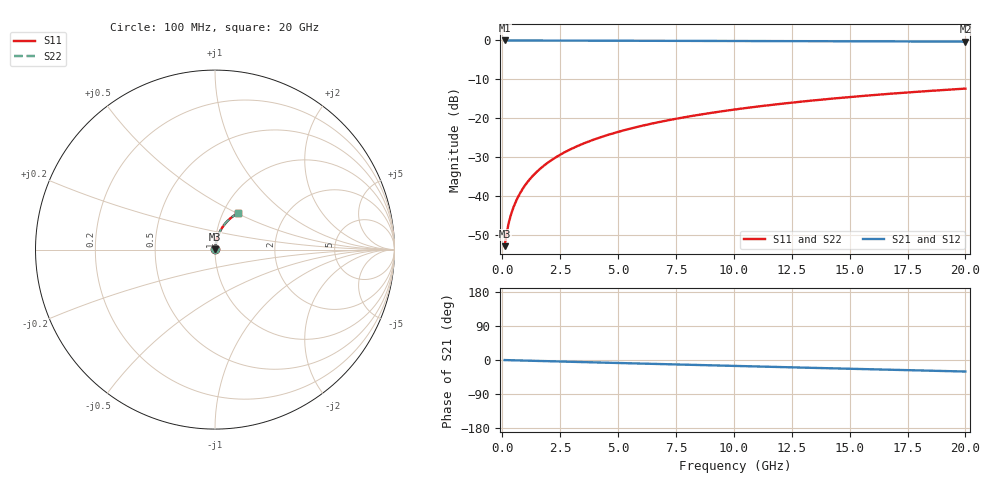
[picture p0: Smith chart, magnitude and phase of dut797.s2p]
! Touchstone file exported from HFSS 2026.1.0
!  File:  C:/ffzhzh/LocalFiles/Ansys_Project_Files/temp_train_BSMRDL_797_1783169641_55132.aedt
!  Generated:  08:55:15 PM Jul  4, 2026
!  Design:  BSMRDL
!  Project:  temp_train_BSMRDL_797_1783169641_55132
! Variables:
!  h_bsmrdl = 3.86um
!  h_ox = 20um
!  h_rdl = 5um
!  h_sub = 80um
!  h_tmrdl = 5um
!  h_tsv = 80um
!  h_via = 3um
!  l_bsmrdl = 448.26um
!  l_sub = 848.26um
!  l_tmrdl = 200um
!  m_sub = 200um
!  pitch = 51.76um
!  r_tsv = 6um
!  s_tmrdl = 10um
!  w_bsmrdl = 29.89um
!  w_sub = 500um
!  w_tmrdl = 12um
!  x_tsv_center1 = 206um
!  x_tsv_center2 = 684.15um
!  x_tsv_center3 = 896.15um
!  x_tsv_center4 = 1374.3um
!  x_tsv_center5 = 1586.3um
!  x_tsv_center6 = 2064.45um
# GHz S MA R 50.000000
! Terminal data exported
! Port[1] = BSM_RDL1_1_T1
! Port[2] = BSM_RDL1_1_T2
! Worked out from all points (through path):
!   200 points, 100 MHz to 20 GHz, reference 50 ohm
!   highest |S21| = -0.01 dB at 100 MHz (marker M1); lowest = -0.3 dB at 20 GHz (marker M2)
!   group delay of S21, straight-line fit = 4.23 ps
!   lowest |S11| = -53.0 dB at 100 MHz (marker M3), VSWR 1.00, Z = 50.2 + j0.155 ohm
!   |S11| at or under -10 dB: start of sweep to end of sweep
!   |S22| runs from -53.0 to -12.4 dB; largest |S21 - S12| = 4.3e-15
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0.1  0.002251 43.4  0.9984 -0.2  0.9984 -0.2  0.002251 43.4
! Gamma 0 0 0 0
! Port Impedance 50 0 50 0
0.2  0.00349 59.2  0.9982 -0.3  0.9982 -0.3  0.00349 59.2
0.3  0.004776 66.1  0.9981 -0.5  0.9981 -0.5  0.004776 66.1
0.4  0.006057 70.1  0.998 -0.7  0.998 -0.7  0.006058 70.1
0.5  0.007342 72.9  0.9979 -0.8  0.9979 -0.8  0.007342 72.9
0.6  0.008633 74.9  0.9979 -1.0  0.9979 -1.0  0.008634 74.9
0.8  0.01124 77.5  0.9978 -1.3  0.9978 -1.3  0.01124 77.5
1.1  0.0152 79.7  0.9976 -1.8  0.9976 -1.8  0.0152 79.7
1.3  0.01785 80.5  0.9976 -2.1  0.9976 -2.1  0.01785 80.5
1.6  0.02185 81.2  0.9974 -2.6  0.9974 -2.6  0.02185 81.2
2.1  0.0285 81.6  0.9971 -3.3  0.9971 -3.3  0.0285 81.6
2.7  0.03647 81.4  0.9966 -4.3  0.9966 -4.3  0.03647 81.4
3.5  0.04701 80.7  0.9958 -5.6  0.9958 -5.6  0.04701 80.7
4.2  0.05615 79.9  0.9951 -6.7  0.9951 -6.7  0.05615 79.9
5  0.06649 78.9  0.9941 -7.9  0.9941 -7.9  0.06649 78.9
5.9  0.07799 77.7  0.9928 -9.3  0.9928 -9.3  0.07799 77.7
6.8  0.08934 76.4  0.9915 -10.7  0.9915 -10.7  0.08934 76.4
8.3  0.108 74.3  0.9891 -13.0  0.9891 -13.0  0.108 74.3
10.1  0.1298 71.8  0.9859 -15.7  0.9859 -15.7  0.1298 71.7
13.4  0.1685 67.1  0.9791 -20.7  0.9791 -20.7  0.1685 67.0
16.7  0.2053 62.4  0.9715 -25.6  0.9715 -25.6  0.2053 62.3
20  0.2398 57.7  0.9631 -30.5  0.9631 -30.5  0.2398 57.7
